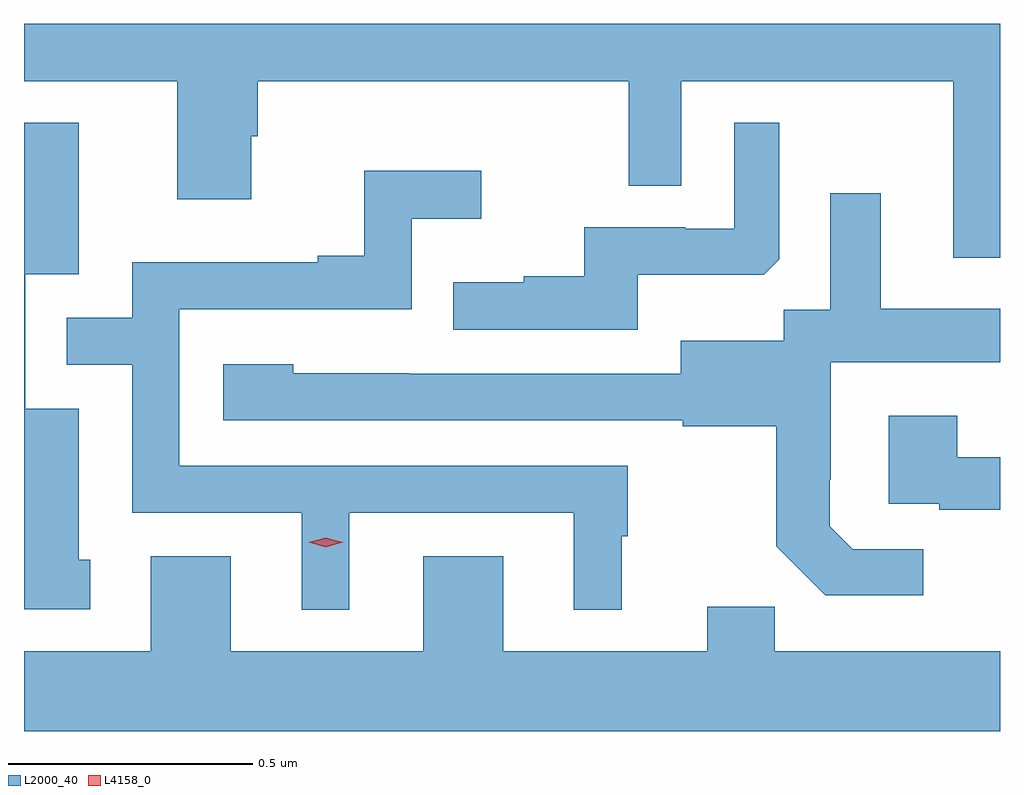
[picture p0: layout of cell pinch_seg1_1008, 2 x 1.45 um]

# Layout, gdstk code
import gdstk
lib = gdstk.Library(unit=1e-6, precision=1e-09)
def P(c, l, *ps):  # polygons
    for p in ps: c.add(gdstk.Polygon(p, *l))
L2000_40 = (2000, 40)
L4158_0 = (4158, 0)

pinch_seg1_1008 = lib.new_cell('pinch_seg1_1008')
P(pinch_seg1_1008, L2000_40, [(294.971,537.198),(292.971,537.198),(292.971,537.08),(293.285,537.08),(293.285,536.838),(293.437,536.838),(293.437,536.967),(293.45,536.967),(293.45,537.08),(294.21,537.08),(294.21,536.866),(294.318,536.866),(294.318,537.08),(294.875,537.08),(294.875,536.718),(294.971,536.718)],
  [(294.229,536.684),(294.487,536.684),(294.519,536.715),(294.519,536.995),(294.426,536.995),(294.426,536.778),(294.326,536.778),(294.326,536.781),(294.119,536.781),(294.119,536.68),(293.995,536.68),(293.995,536.668),(293.851,536.668),(293.851,536.571),(294.229,536.571)],
  [(293.107,536.1),(293.083,536.1),(293.083,536.409),(292.974,536.409),(292.974,536.685),(293.083,536.685),(293.083,536.995),(292.971,536.995),(292.971,535.998),(293.107,535.998)],
  [(293.638,536.196),(294.098,536.196),(294.098,535.997),(294.196,535.997),(294.196,536.148),(294.208,536.148),(294.208,536.292),(293.289,536.292),(293.289,536.613),(293.766,536.613),(293.766,536.798),(293.908,536.798),(293.908,536.897),(293.668,536.897),(293.668,536.722),(293.573,536.722),(293.573,536.709),(293.193,536.709),(293.193,536.595),(293.059,536.595),(293.059,536.499),(293.193,536.499),(293.193,536.196),(293.54,536.196),(293.54,535.997),(293.638,535.997)],
  [(294.814,536.121),(294.669,536.121),(294.622,536.168),(294.622,536.263),(294.624,536.263),(294.624,536.504),(294.971,536.504),(294.971,536.614),(294.727,536.614),(294.727,536.851),(294.623,536.851),(294.623,536.612),(294.528,536.612),(294.528,536.548),(294.317,536.548),(294.317,536.481),(293.759,536.481),(293.759,536.482),(293.523,536.482),(293.523,536.5),(293.379,536.5),(293.379,536.385),(294.321,536.385),(294.321,536.373),(294.513,536.373),(294.513,536.127),(294.613,536.027),(294.814,536.027)],
  [(294.971,536.31),(294.883,536.31),(294.883,536.395),(294.743,536.395),(294.743,536.214),(294.847,536.214),(294.847,536.202),(294.971,536.202)],
  [(294.971,535.912),(294.509,535.912),(294.509,536.003),(294.371,536.003),(294.371,535.912),(293.953,535.912),(293.953,536.107),(293.789,536.107),(293.789,535.912),(293.395,535.912),(293.395,536.107),(293.231,536.107),(293.231,535.912),(292.971,535.912),(292.971,535.748),(294.971,535.748)])
P(pinch_seg1_1008, L4158_0, [(293.589,536.125),(293.554,536.135),(293.553,536.135),(293.554,536.135),(293.589,536.145),(293.624,536.135),(293.625,536.135),(293.624,536.135)])

lib.write_gds('pinch_seg1_1008.gds')
